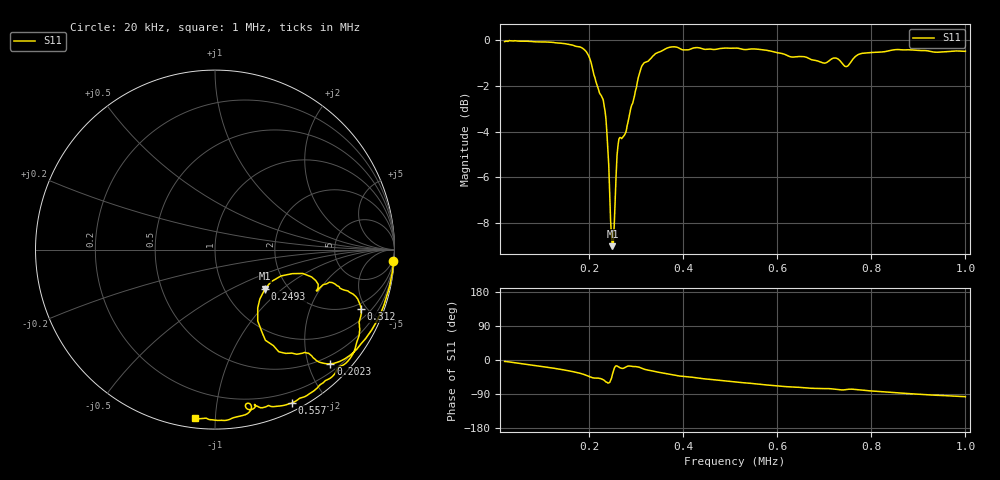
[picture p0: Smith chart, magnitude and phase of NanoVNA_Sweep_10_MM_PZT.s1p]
! NanoVNA MATLAB Controller & Analyzer Export
! Date: 29-Jul-2026 17:31:33
! Freq Range: 20.000 kHz - 1000.000 kHz (501 pts)
# Hz S RI R 50
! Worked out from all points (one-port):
!   501 points, 20 kHz to 1 MHz, reference 50 ohm
!   lowest |S11| = -9.0 dB at 249.3 kHz (marker M1), VSWR 2.10, Z = 77.1 - j38.4 ohm
!   |S11| at or under -10 dB: nowhere
!   S11 on the Smith chart (normalised r, x): 20 kHz: 3, -30; 202.3 kHz: 0.34, -2.39; 249.3 kHz: 1.54, -0.77; 312 kHz: 1.59, -4.61; 557 kHz: 0.08, -1.62; 1 MHz: 0.05, -0.89
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20000  0.9904 -0.0654
76840  0.9676 -0.2239
143480  0.8872 -0.4244
180720  0.7903 -0.5549
202280  0.6429 -0.6357
227760  0.4713 -0.5799
235600  0.3554 -0.5693
239520  0.2811 -0.5054
243440  0.2381 -0.3977
249320  0.279 -0.2179
255200  0.4301 -0.134
261080  0.5612 -0.1724
265000  0.5737 -0.2128
274800  0.5805 -0.2164
286560  0.6683 -0.1915
302240  0.7699 -0.2481
312040  0.8145 -0.3298
345360  0.7976 -0.4953
388480  0.7204 -0.6396
510000  0.5127 -0.8124
557040  0.428 -0.8543
633480  0.2964 -0.8689
713840  0.2217 -0.8796
737360  0.1701 -0.8748
755000  0.201 -0.8681
782440  0.1638 -0.9216
878480  0.0228 -0.9521
1000000  -0.1112 -0.9385
